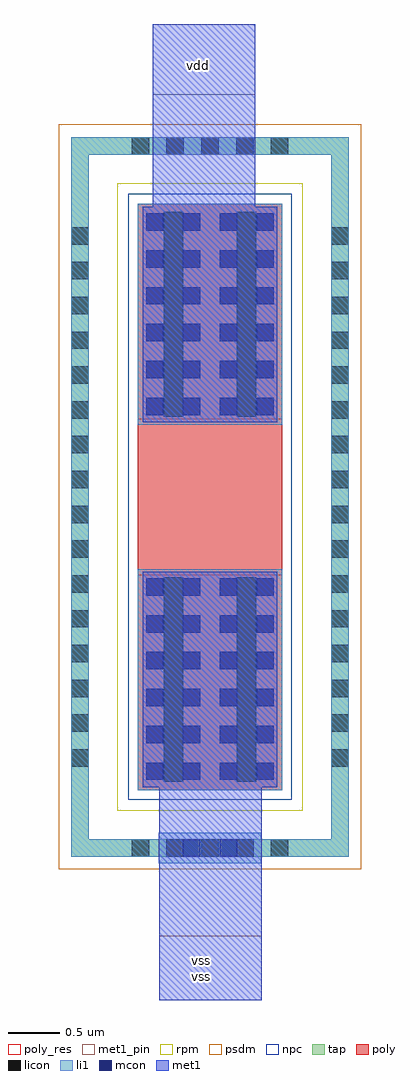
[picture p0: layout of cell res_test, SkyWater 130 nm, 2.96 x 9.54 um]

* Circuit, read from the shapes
.subckt res_test vdd vss
XR1 vdd vss vss sky130_fd_pr__res_high_po w=1.41 l=1.41
.ends

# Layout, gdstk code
import gdstk
lib = gdstk.Library(unit=1e-6, precision=5e-09)
def R(c, l, rs):  # rectangles x0, y0, x1, y1
    for r in rs: c.add(gdstk.rectangle(r[:2], r[2:], *l))
def A(c, l, x, y, w, h, nx, ny, dx, dy):  # array of equal rectangles
    R(c, l, [(x+i*dx, y+j*dy, x+i*dx+w, y+j*dy+h) for i in range(nx) for j in range(ny)])
tap = (65, 44)
poly_res = (66, 13)
poly = (66, 20)
licon = (66, 44)
li1 = (67, 20)
mcon = (67, 44)
met1_pin = (68, 16)
met1 = (68, 20)
rpm = (86, 20)
psdm = (94, 20)
npc = (95, 20)

res_poly = lib.new_cell('res_poly')
R(res_poly, tap, [(-1.355,-3.515,1.355,-3.345), (-1.355,-3.345,-1.185,3.345), (1.185,-3.345,1.355,3.345), (-1.355,3.345,1.355,3.515)])
R(res_poly, poly_res, [(-0.705,-0.765,0.705,0.765)])
R(res_poly, poly, [(-0.705,-2.865,0.705,2.865)])
A(res_poly, licon, -0.765, -3.515, 0.17, 0.17, 5, 2, 0.34, 6.86)
A(res_poly, licon, -1.355, -2.635, 0.17, 0.17, 1, 16, 0, 0.34)
A(res_poly, licon, 1.185, -2.635, 0.17, 0.17, 1, 16, 0, 0.34)
R(res_poly, licon, [(-0.45,-2.785,-0.26,-0.785), (0.26,-2.785,0.45,-0.785), (-0.45,0.785,-0.26,2.785), (0.26,0.785,0.45,2.785)])
R(res_poly, li1, [(-1.355,-3.515,1.355,-3.345), (-1.355,-3.345,-1.185,3.345), (1.185,-3.345,1.355,3.345), (-0.705,-2.865,0.705,-0.705), (-0.705,0.705,0.705,2.865), (-1.355,3.345,1.355,3.515)])
A(res_poly, mcon, -0.625, -2.765, 0.17, 0.17, 4, 6, 0.36, 0.36)
A(res_poly, mcon, -0.625, 0.8, 0.17, 0.17, 4, 6, 0.36, 0.36)
R(res_poly, met1, [(-0.655,-2.835,0.655,-0.73), (-0.655,0.73,0.655,2.835)])
R(res_poly, rpm, [(-0.905,-3.065,0.905,3.065)])
R(res_poly, psdm, [(-1.48,-3.64,1.48,3.64)])
R(res_poly, npc, [(-0.8,-2.96,0.8,2.96)])

vias_gen = lib.new_cell('vias_gen')
R(vias_gen, li1, [(0,0,1,0.3)])
R(vias_gen, mcon, [(0.235,0.065,0.405,0.235), (0.595,0.065,0.765,0.235)])
R(vias_gen, met1, [(0,0,1,0.3)])

res_test = lib.new_cell('res_test')
R(res_test, met1_pin, [(0.985,0,1.985,0.63), (0.92,8.845,1.92,9.535)])
res_test.add(gdstk.FlexPath([(1.42,6.435),(1.42,9.535)], 1, ends="flush", simple_path=True, layer=68, datatype=20))  # met1
res_test.add(gdstk.FlexPath([(1.485,0),(1.485,3.1)], 1, ends="flush", simple_path=True, layer=68, datatype=20))  # met1
res_test.add(gdstk.Reference(res_poly, (1.48,4.915)))
res_test.add(gdstk.Reference(vias_gen, (0.98,1.335)))
res_test.add(gdstk.Label('vdd', (1.365,9.125), layer=68, texttype=16))
res_test.add(gdstk.Label('vss', (1.395,0.225), layer=68, texttype=16))
res_test.add(gdstk.Label('vdd', (1.39,9.205), layer=68, texttype=5))
res_test.add(gdstk.Label('vss', (1.395,0.385), layer=68, texttype=5))

lib.write_gds('res_test.gds')
